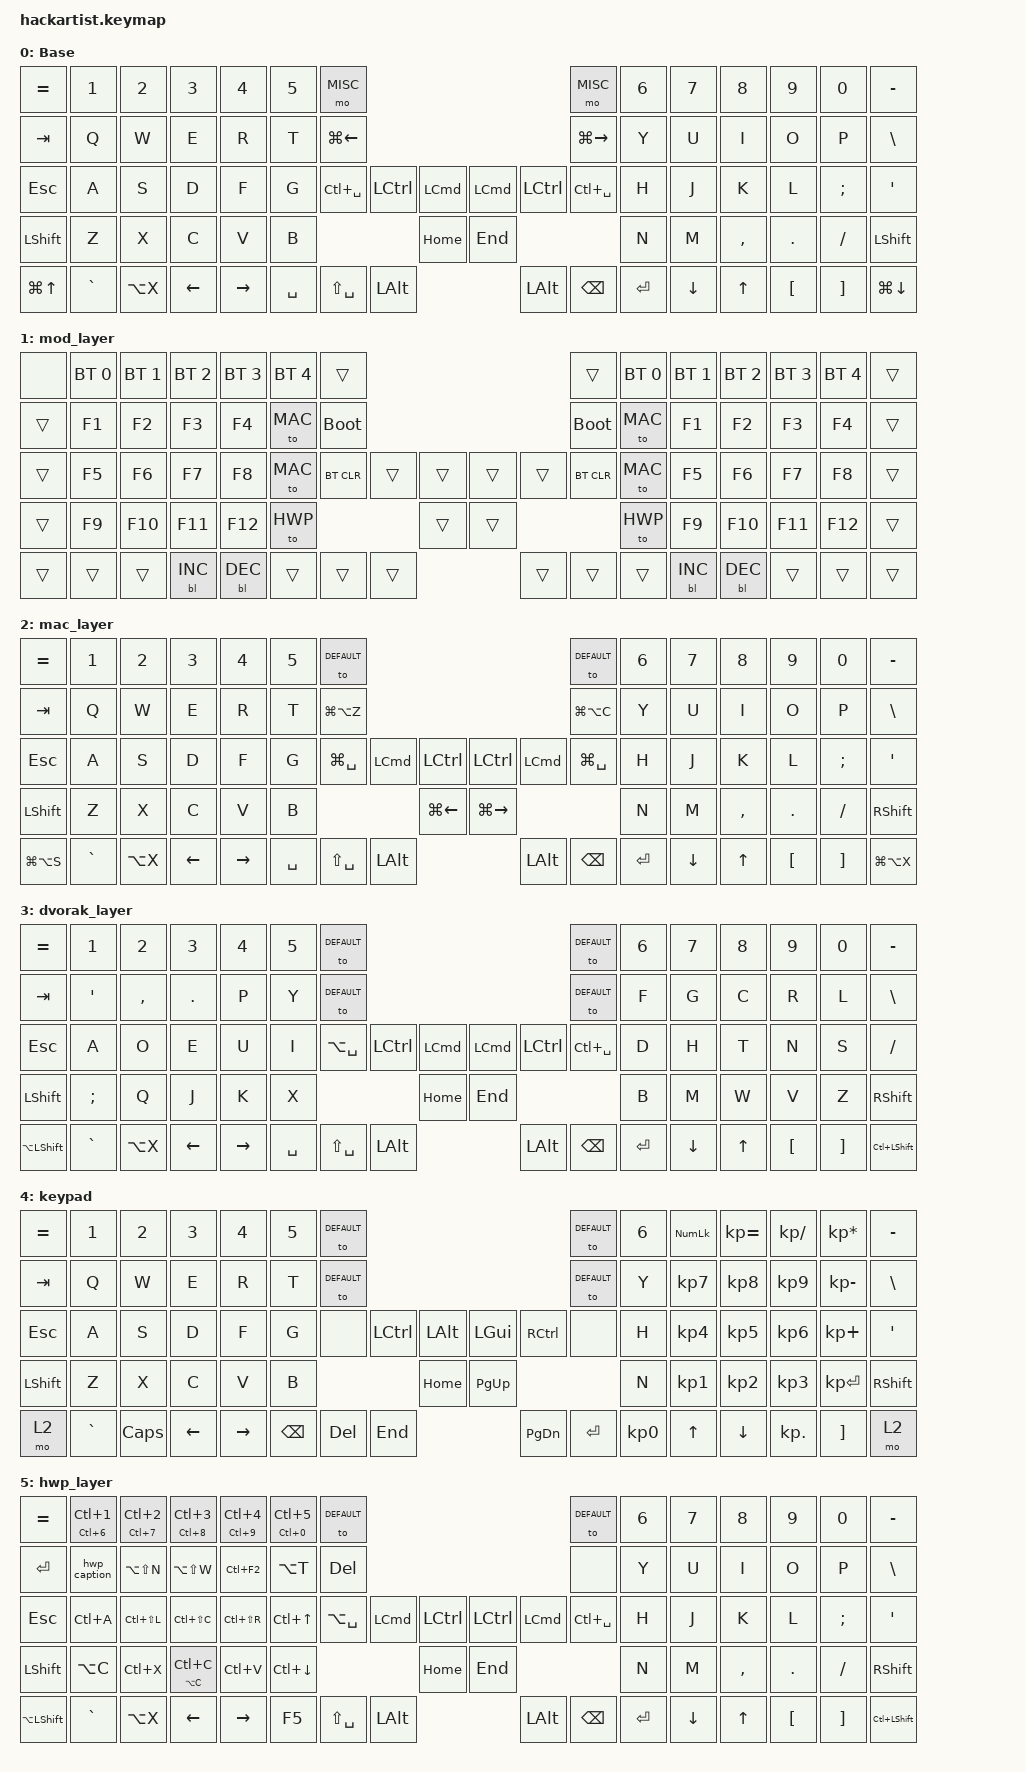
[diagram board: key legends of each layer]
#include <behaviors.dtsi>
#include <dt-bindings/zmk/keys.h>
#include <dt-bindings/zmk/bt.h>
#include <dt-bindings/zmk/rgb.h>
#include <dt-bindings/zmk/stp.h>
#include <dt-bindings/zmk/backlight.h>
#include <dt-bindings/zmk/pointing.h>

#define DEFAULT 0
#define MISC 1
#define MAC 2
#define DVORAK 3
#define NUM 4
#define HWP 5

/ {
    behaviors {
      #include "macros.dtsi"

      hm: homerow_mods {
          compatible = "zmk,behavior-hold-tap";
          label = "HOMEROW_MODS";
          #binding-cells = <2>;
          tapping-term-ms = <150>;
          flavor = "tap-preferred";
          bindings = <&kp>, <&kp>;
      };
      hwp_caption: macro_hwp_caption {
        compatible = "zmk,behavior-macro";
        label = "hwp_caption";
        #binding-cells = <0>;
        bindings
          = <&macro_press &kp LCTRL>
          , <&macro_tap &kp N>
          , <&macro_tap &kp C>
          , <&macro_release &kp LCTRL>;
      };

      vm_lc_s: macro_vm_lc_s {
        compatible = "zmk,behavior-macro";
        label = "vm_lc_s";
        #binding-cells = <0>;
        bindings
          = <&macro_tap &kp LC(LALT)>
          , <&macro_tap &kp LC(SPACE)>;
      };

      vm_la_s: macro_vm_la_s {
        compatible = "zmk,behavior-macro";
        label = "vm_la_s";
        #binding-cells = <0>;
        bindings
          = <&macro_tap &kp LC(LALT)>
          , <&macro_tap &kp LA(SPACE)>;
      };
    };

  keymap {
    compatible = "zmk,keymap";

    default_layer {
      display-name = "Base";
      bindings = <
        &kp EQUAL &kp N1    &kp N2    &kp N3   &kp N4     &kp N5 &mo MISC                                                         &mo MISC       &kp N6   &kp N7   &kp N8    &kp N9   &kp N0   &kp MINUS
        &kp TAB   &kp Q     &kp W     &kp E    &kp R      &kp T  &kp LG(LEFT)                                                     &kp LG(RIGHT)  &kp Y    &kp U    &kp I     &kp O    &kp P    &kp BSLH
        &kp ESC   &kp A     &kp S     &kp D    &kp F      &kp G  &kp LC(SPACE)     &kp LCTRL     &kp LCMD  &kp LCMD  &kp LCTRL    &kp LC(SPACE)  &kp H    &kp J    &kp K     &kp L    &kp SEMI &kp SQT
        &kp LSHFT &kp Z     &kp X     &kp C    &kp V      &kp B                                  &kp HOME  &kp END                               &kp N    &kp M    &kp COMMA &kp DOT  &kp FSLH &kp LSHFT
        &kp LG(UP) &kp GRAVE &kp LA(X) &kp LEFT &kp RIGHT                 &kp SPACE &kp LS(SPACE) &kp LALT  &kp LALT  &kp BSPC  &kp ENTER                  &kp DOWN &kp UP    &kp LBKT &kp RBKT &kp LG(DOWN)
      >;
    };

    mod_layer {
      bindings = <
        &none  &bt BT_SEL 0 &bt BT_SEL 1 &bt BT_SEL 2 &bt BT_SEL 3 &bt BT_SEL 4 &trans                                                     &trans      &bt BT_SEL 0 &bt BT_SEL 1 &bt BT_SEL 2 &bt BT_SEL 3 &bt BT_SEL 4 &trans
        &trans &kp F1       &kp F2       &kp F3       &kp F4       &to MAC      &bootloader                                                &bootloader &to MAC      &kp F1       &kp F2       &kp F3       &kp F4       &trans
        &trans &kp F5       &kp F6       &kp F7       &kp F8       &to MAC      &bt BT_CLR          &trans &trans    &trans &trans         &bt BT_CLR  &to MAC      &kp F5       &kp F6       &kp F7       &kp F8       &trans
        &trans &kp F9       &kp F10      &kp F11      &kp F12      &to HWP                                 &trans    &trans                            &to HWP      &kp F9       &kp F10      &kp F11      &kp F12      &trans
        &trans &trans       &trans       &bl BL_INC   &bl BL_DEC                             &trans &trans &trans    &trans &trans &trans                           &bl BL_INC   &bl BL_DEC   &trans       &trans       &trans
      >;
    };

    mac_layer {
        bindings = <
        &kp EQUAL     &kp N1    &kp N2    &kp N3   &kp N4  &kp N5 &to DEFAULT                                                          &to DEFAULT   &kp N6 &kp N7   &kp N8    &kp N9   &kp N0   &kp MINUS
        &kp TAB       &kp Q     &kp W     &kp E    &kp R   &kp T  &kp LG(LA(Z))                                                        &kp LG(LA(C)) &kp Y  &kp U    &kp I     &kp O    &kp P    &kp BSLH
        &kp ESC       &kp A     &kp S     &kp D    &kp F   &kp G  &kp LG(SPACE)            &kp LCMD &kp LCTRL      &kp LCTRL &kp LCMD  &kp LG(SPACE) &kp H  &kp J    &kp K     &kp L    &kp SEMI &kp SQT
        &kp LSHFT     &kp Z     &kp X     &kp C    &kp V   &kp B                                    &kp LG(LEFT)  &kp LG(RIGHT)                             &kp N  &kp M    &kp COMMA &kp DOT  &kp FSLH &kp RSHFT
        &kp LG(LA(S)) &kp GRAVE &kp LA(X) &kp LEFT &kp RIGHT             &kp SPACE &kp LS(SPACE)    &kp LALT  &kp LALT  &kp BSPC  &kp ENTER                 &kp DOWN &kp UP    &kp LBKT &kp RBKT &kp LG(LA(X))
        >;
    };

    dvorak_layer {
        bindings = <
        &kp EQUAL     &kp N1    &kp N2    &kp N3   &kp N4 &kp N5 &to DEFAULT                                                      &to DEFAULT         &kp N6 &kp N7   &kp N8 &kp N9   &kp N0   &kp MINUS
        &kp TAB       &kp SQT   &kp COMMA &kp DOT  &kp P  &kp Y  &to DEFAULT                                                      &to DEFAULT   &kp F  &kp G    &kp C  &kp R    &kp L    &kp BSLH
        &kp ESC       &kp A     &kp O     &kp E    &kp U  &kp I  &kp LA(SPACE)           &kp LCTRL &kp LCMD &kp LCMD &kp LCTRL    &kp LC(SPACE) &kp D  &kp H    &kp T  &kp N    &kp S    &kp FSLH
        &kp LSHFT     &kp SEMI  &kp Q     &kp J    &kp K  &kp X                                    &kp HOME &kp END                             &kp B  &kp M    &kp W  &kp V    &kp Z    &kp RSHFT
        &kp LA(LSHFT) &kp GRAVE &kp LA(X) &kp LEFT &kp RIGHT             &kp SPACE &kp LS(SPACE)    &kp LALT  &kp LALT  &kp BSPC  &kp ENTER            &kp DOWN &kp UP &kp LBKT &kp RBKT &kp LC(LSHFT)
        >;
    };

    keypad {
      bindings = <
        &kp EQUAL &kp N1    &kp N2   &kp N3   &kp N4     &kp N5 &to DEFAULT                                          &to DEFAULT &kp N6 &kp KP_NUM &kp KP_EQUAL &kp KP_DIVIDE &kp KP_MULTIPLY &kp MINUS
        &kp TAB   &kp Q     &kp W    &kp E    &kp R      &kp T  &to DEFAULT                                          &to DEFAULT &kp Y  &kp KP_N7  &kp KP_N8    &kp KP_N9     &kp KP_MINUS    &kp BSLH
        &kp ESC   &kp A     &kp S    &kp D    &kp F      &kp G  &none    &kp LCTRL &kp LALT  &kp LGUI  &kp RCTRL     &none       &kp H  &kp KP_N4  &kp KP_N5    &kp KP_N6     &kp KP_PLUS     &kp SQT
        &kp LSHFT &kp Z     &kp X    &kp C    &kp V      &kp B                     &kp HOME  &kp PG_UP                           &kp N  &kp KP_N1  &kp KP_N2    &kp KP_N3     &kp KP_ENTER    &kp RSHFT
        &mo 2     &kp GRAVE &kp CAPS &kp LEFT &kp RIGHT         &kp BSPC &kp DEL   &kp END   &kp PG_DN &kp ENTER &kp KP_N0              &kp UP     &kp DOWN     &kp KP_DOT    &kp RBKT        &mo 2
      >;
    };

    hwp_layer {
        bindings = <
        &kp EQUAL     &mt LC(N6) LC(N1)  &mt LC(N7) LC(N2) &mt LC(N8) LC(N3) &mt LC(N9) LC(N4)  &mt LC(N0) LC(N5) &to DEFAULT                                                            &to DEFAULT      &kp N6 &kp N7   &kp N8    &kp N9   &kp N0   &kp MINUS
        &kp ENTER     &hwp_caption       &kp LA(LS(N))     &kp LA(LS(W))     &kp LC(F2)         &kp LA(T)         &kp DEL                                                                &none         &kp Y  &kp U    &kp I     &kp O    &kp P    &kp BSLH
        &kp ESC       &kp LC(A)          &kp LC(LS(L))     &kp LC(LS(C))     &kp LC(LS(R))      &kp LC(UP)        &kp LA(SPACE)          &kp LCMD &kp LCTRL &kp LCTRL &kp LCMD       &kp LC(SPACE) &kp H  &kp J    &kp K     &kp L    &kp SEMI &kp SQT
        &kp LSHFT     &kp LA(C)          &kp LC(X)         &mt LA(C) LC(C)   &kp LC(V)          &kp LC(DOWN)                             &kp HOME  &kp END                                &kp N  &kp M    &kp COMMA &kp DOT  &kp FSLH &kp RSHFT
        &kp LA(LSHFT) &kp GRAVE          &kp LA(X)         &kp LEFT          &kp RIGHT                            &kp F5 &kp LS(SPACE)   &kp LALT  &kp LALT  &kp BSPC  &kp ENTER                 &kp DOWN &kp UP    &kp LBKT &kp RBKT &kp LC(LSHFT)
        >;
    };

  };
};
